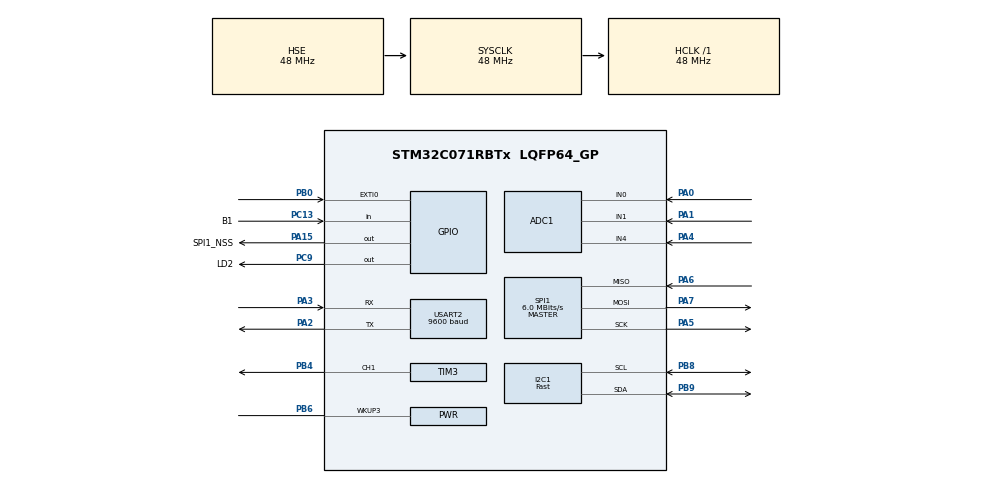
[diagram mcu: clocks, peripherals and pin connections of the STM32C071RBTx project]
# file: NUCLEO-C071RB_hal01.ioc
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ADC1.ClockPrescaler=ADC_CLOCK_ASYNC_DIV1
ADC1.ContinuousConvMode=ENABLE
ADC1.EOCSelection=ADC_EOC_SEQ_CONV
ADC1.NbrOfConversion=1
ADC1.NbrOfConversionFlag=0
ADC1.Overrun=ADC_OVR_DATA_OVERWRITTEN
ADC1.SelectedChannel=ADC_CHANNEL_0|ADC_CHANNEL_1|ADC_CHANNEL_4
ADC1.Sequencer=NOT_FULLY_CONFIGURABLE
ADC1.master=1
CORTEX_M0+.AccessPermission-Cortex_Memory_Protection_Unit_Region0_Settings=MPU_REGION_PRIV_RO
CORTEX_M0+.BaseAddress-Cortex_Memory_Protection_Unit_Region0_Settings=0x20005000
CORTEX_M0+.Enable-Cortex_Memory_Protection_Unit_Region0_Settings=MPU_REGION_ENABLE
CORTEX_M0+.MPU_Control=MPU_PRIVILEGED_DEFAULT
CORTEX_M0+.Size-Cortex_Memory_Protection_Unit_Region0_Settings=MPU_REGION_SIZE_1KB
CRC.InputDataFormat=CRC_INPUTDATA_FORMAT_WORDS
Dma.ADC1.0.Direction=DMA_PERIPH_TO_MEMORY
Dma.ADC1.0.EventEnable=DISABLE
Dma.ADC1.0.Instance=DMA1_Channel1
Dma.ADC1.0.MemDataAlignment=DMA_MDATAALIGN_HALFWORD
Dma.ADC1.0.MemInc=DMA_MINC_ENABLE
Dma.ADC1.0.Mode=DMA_NORMAL
Dma.ADC1.0.PeriphDataAlignment=DMA_PDATAALIGN_HALFWORD
Dma.ADC1.0.PeriphInc=DMA_PINC_DISABLE
Dma.ADC1.0.Polarity=HAL_DMAMUX_REQ_GEN_RISING
Dma.ADC1.0.Priority=DMA_PRIORITY_HIGH
Dma.ADC1.0.RequestNumber=1
Dma.ADC1.0.SignalID=NONE
Dma.ADC1.0.SyncEnable=DISABLE
Dma.ADC1.0.SyncPolarity=HAL_DMAMUX_SYNC_NO_EVENT
Dma.ADC1.0.SyncRequestNumber=1
Dma.ADC1.0.SyncSignalID=NONE
Dma.MEMTOMEM.1.Direction=DMA_MEMORY_TO_MEMORY
Dma.MEMTOMEM.1.EventEnable=DISABLE
Dma.MEMTOMEM.1.Instance=DMA1_Channel2
Dma.MEMTOMEM.1.MemDataAlignment=DMA_MDATAALIGN_WORD
Dma.MEMTOMEM.1.MemInc=DMA_MINC_ENABLE
Dma.MEMTOMEM.1.Mode=DMA_NORMAL
Dma.MEMTOMEM.1.PeriphDataAlignment=DMA_PDATAALIGN_WORD
Dma.MEMTOMEM.1.PeriphInc=DMA_PINC_ENABLE
Dma.MEMTOMEM.1.Polarity=HAL_DMAMUX_REQ_GEN_RISING
Dma.MEMTOMEM.1.Priority=DMA_PRIORITY_LOW
Dma.MEMTOMEM.1.RequestNumber=1
Dma.MEMTOMEM.1.SignalID=NONE
Dma.MEMTOMEM.1.SyncEnable=DISABLE
Dma.MEMTOMEM.1.SyncPolarity=HAL_DMAMUX_SYNC_NO_EVENT
Dma.MEMTOMEM.1.SyncRequestNumber=1
Dma.MEMTOMEM.1.SyncSignalID=NONE
Dma.MEMTOMEM.2.Direction=DMA_MEMORY_TO_MEMORY
Dma.MEMTOMEM.2.EventEnable=DISABLE
Dma.MEMTOMEM.2.Instance=DMA1_Channel3
Dma.MEMTOMEM.2.MemDataAlignment=DMA_MDATAALIGN_WORD
Dma.MEMTOMEM.2.MemInc=DMA_MINC_ENABLE
Dma.MEMTOMEM.2.Mode=DMA_NORMAL
Dma.MEMTOMEM.2.PeriphDataAlignment=DMA_PDATAALIGN_WORD
Dma.MEMTOMEM.2.PeriphInc=DMA_PINC_ENABLE
Dma.MEMTOMEM.2.Polarity=HAL_DMAMUX_REQ_GEN_RISING
Dma.MEMTOMEM.2.Priority=DMA_PRIORITY_VERY_HIGH
Dma.MEMTOMEM.2.RequestNumber=1
Dma.MEMTOMEM.2.SignalID=NONE
Dma.MEMTOMEM.2.SyncEnable=DISABLE
Dma.MEMTOMEM.2.SyncPolarity=HAL_DMAMUX_SYNC_NO_EVENT
Dma.MEMTOMEM.2.SyncRequestNumber=1
Dma.MEMTOMEM.2.SyncSignalID=NONE
Dma.Request0=ADC1
Dma.Request1=MEMTOMEM
Dma.Request2=MEMTOMEM
I2C1.I2C_Speed_Mode=I2C_Fast
I2C1.OwnAddress=0x10
I2C1.Timing=0x0090194B
IWDG.Prescaler=IWDG_PRESCALER_128
IWDG.Reload=2500-1
Mcu.Family=STM32C0
Mcu.Name=STM32C071RBTx
Mcu.Package=LQFP64_GP
Mcu.UserConstants=PWM_PERIOD,1000
NVIC.DMA1_Channel1_IRQn=true\:0\:0\:false\:false\:true\:false\:true\:true
NVIC.DMA1_Channel2_3_IRQn=true\:0\:0\:false\:false\:true\:true\:true\:true
NVIC.EXTI0_1_IRQn=true\:0\:0\:false\:false\:true\:true\:true\:true
NVIC.FLASH_IRQn=true\:0\:0\:false\:false\:true\:true\:true\:true
NVIC.I2C1_IRQn=true\:0\:0\:false\:false\:true\:true\:true\:true
NVIC.SPI1_IRQn=true\:0\:0\:false\:false\:true\:true\:true\:true
NVIC.TIM14_IRQn=true\:0\:0\:false\:false\:true\:true\:true\:true
NVIC.USART2_IRQn=true\:0\:0\:false\:false\:true\:true\:true\:true
PA0.Mode=IN0
PA0.Signal=ADC1_IN0
PA1.Mode=IN1
PA1.Signal=ADC1_IN1
PA15.GPIO_Label=SPI1_NSS
PA15.PinState=GPIO_PIN_SET
PA15.Signal=GPIO_Output
PA2.Mode=Asynchronous
PA2.Signal=USART2_TX
PA3.Mode=Asynchronous
PA3.Signal=USART2_RX
PA4.Mode=IN4
PA4.Signal=ADC1_IN4
PA5.Mode=Full_Duplex_Master
PA5.Signal=SPI1_SCK
PA6.Mode=Full_Duplex_Master
PA6.Signal=SPI1_MISO
PA7.Mode=Full_Duplex_Master
PA7.Signal=SPI1_MOSI
PB0.GPIO_ModeDefaultEXTI=GPIO_MODE_IT_FALLING
PB0.GPIO_PuPd=GPIO_PULLUP
PB0.Signal=GPXTI0
PB4.Signal=S_TIM3_CH1
PB6.Mode=WakeUp3
PB6.Signal=PWR_WKUP3
PB8.Mode=I2C
PB8.Signal=I2C1_SCL
PB9.Mode=I2C
PB9.Signal=I2C1_SDA
PC13.GPIO_Label=B1
PC13.GPIO_PuPd=GPIO_PULLUP
PC13.Signal=GPIO_Input
PC14-OSCX_IN(PC14).Mode=LSE-External-Oscillator
PC14-OSCX_IN(PC14).Signal=RCC_OSCX_IN
PC15-OSCX_OUT(PC15).Mode=LSE-External-Oscillator
PC15-OSCX_OUT(PC15).Signal=RCC_OSCX_OUT
PC9.GPIO_Label=LD2
PC9.Signal=GPIO_Output
PF0-OSC_IN(PF0).Mode=HSE-External-Oscillator
PF0-OSC_IN(PF0).Signal=RCC_OSC_IN
PF1-OSC_OUT(PF1).Mode=HSE-External-Oscillator
PF1-OSC_OUT(PF1).Signal=RCC_OSC_OUT
ProjectManager.HeapSize=0x200
ProjectManager.StackSize=0x400
ProjectManager.TargetToolchain=STM32CubeIDE
RCC.ADCCLockSelection=RCC_ADCCLKSOURCE_HSIKER
RCC.ADCFreq_Value=48000000
RCC.AHBFreq_Value=48000000
RCC.CortexFreq_Value=48000000
RCC.EXTERNAL_CLOCK_VALUE=12288000
RCC.HCLKFreq_Value=48000000
RCC.HSE_VALUE=48000000
RCC.HSI48_VALUE=48000000
RCC.HSIKERCLKDivider=RCC_HSIKER_DIV1
RCC.HSI_VALUE=48000000
RCC.RTCClockSelection=RCC_RTCCLKSOURCE_LSE
RCC.SYSCLKFreq_VALUE=48000000
RCC.SYSCLKSource=RCC_SYSCLKSOURCE_HSE
SH.S_TIM3_CH1.0=TIM3_CH1,PWM Generation1 CH1
SPI1.BaudRatePrescaler=SPI_BAUDRATEPRESCALER_8
SPI1.CLKPhase=SPI_PHASE_1EDGE
SPI1.CalculateBaudRate=6.0 MBits/s
SPI1.Direction=SPI_DIRECTION_2LINES
SPI1.Mode=SPI_MODE_MASTER
SPI1.NSSPMode=SPI_NSS_PULSE_ENABLE
SPI1.VirtualType=VM_MASTER
TIM14.AutoReloadPreload=TIM_AUTORELOAD_PRELOAD_DISABLE
TIM14.Period=8000-1
TIM14.Prescaler=6-1
TIM3.Channel-PWM\ Generation1\ CH1=TIM_CHANNEL_1
TIM3.Period=PWM_PERIOD-1
TIM3.Prescaler=48-1
USART2.BaudRate=9600
USART2.DMADisableonRxErrorParam=ADVFEATURE_DMA_DISABLEONRXERROR
USART2.FIFOMode=FIFOMODE_DISABLE
USART2.VirtualMode-Asynchronous=VM_ASYNC
VP_CRC_VS_CRC.Mode=CRC_Activate
VP_FLASH_SIG_Activate_FlashIP.Mode=Activate_FlashIP
VP_IWDG_VS_IWDG.Mode=IWDG_Activate
VP_RTC_VS_RTC_Activate.Mode=RTC_Enabled
VP_TIM14_VS_ClockSourceINT.Mode=Enable_Timer
board=NUCLEO-C071RB

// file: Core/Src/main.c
/* USER CODE BEGIN Header */
/**
  ******************************************************************************
  * @file           : main.c
  * @brief          : Main program body
  ******************************************************************************
  * @attention
  *
  * Copyright (c) 2024 STMicroelectronics.
  * All rights reserved.
  *
  * This software is licensed under terms that can be found in the LICENSE file
  * in the root directory of this software component.
  * If no LICENSE file comes with this software, it is provided AS-IS.
  *
  ******************************************************************************
  */
/* USER CODE END Header */
#include "main.h"

/* USER CODE BEGIN Includes */
#include "drv.h"
#include "lib.h"
/* USER CODE END Includes */

ADC_HandleTypeDef hadc1;
DMA_HandleTypeDef hdma_adc1;

CRC_HandleTypeDef hcrc;

I2C_HandleTypeDef hi2c1;

IWDG_HandleTypeDef hiwdg;

RTC_HandleTypeDef hrtc;

SPI_HandleTypeDef hspi1;

TIM_HandleTypeDef htim3;
TIM_HandleTypeDef htim14;

UART_HandleTypeDef huart2;

DMA_HandleTypeDef hdma_memtomem_dma1_channel2;
DMA_HandleTypeDef hdma_memtomem_dma1_channel3;
/* USER CODE BEGIN PV */
volatile static uint32_t u32s_CycleTimeCounter;		/* 周期時間カウンター			*/
/* USER CODE END PV */

void SystemClock_Config(void);
void PeriphCommonClock_Config(void);
static void MPU_Config(void);
static void MX_GPIO_Init(void);
static void MX_DMA_Init(void);
static void MX_USART2_UART_Init(void);
static void MX_TIM14_Init(void);
static void MX_ADC1_Init(void);
static void MX_TIM3_Init(void);
static void MX_FLASH_Init(void);
static void MX_I2C1_Init(void);
static void MX_SPI1_Init(void);
static void MX_IWDG_Init(void);
static void MX_RTC_Init(void);
static void MX_CRC_Init(void);

/* USER CODE BEGIN 0 */

/**
  * @brief Period elapsed callback in non-blocking mode
  * @param htim TIM handle
  * @retval None
  */
void HAL_TIM_PeriodElapsedCallback(TIM_HandleTypeDef *htim)
{
	if (htim == &htim14) {
		u32s_CycleTimeCounter++;
	}
}

/**
  * @brief スリープへ移行する
  * @param None
  * @retval None
  */
void sleep(void)
{
	/* TIM14のタイマー停止(1msタイマー割り込み用) */
	if (HAL_TIM_Base_Stop_IT(&htim14) != HAL_OK) {
		/* Stopping Error */
		Error_Handler();
	}

 	/* SysTickを一時中断 */
	HAL_SuspendTick();
	/* スリープモードへ移行 */
	HAL_PWR_EnterSLEEPMode(PWR_MAINREGULATOR_ON, PWR_SLEEPENTRY_WFI);
 	/* SysTickを再開 */
	HAL_ResumeTick();

	/* TIM14のタイマー開始(1msタイマー割り込み用) */
	if (HAL_TIM_Base_Start_IT(&htim14) != HAL_OK) {
		/* Starting Error */
		Error_Handler();
	}
}

/* USER CODE END 0 */

int main(void)
{

  /* MCU Configuration--------------------------------------------------------*/

  /* MPU Configuration--------------------------------------------------------*/
  MPU_Config();

  /* Reset of all peripherals, Initializes the Flash interface and the Systick. */
  HAL_Init();

  /* USER CODE BEGIN Init */
	u32s_CycleTimeCounter = 0;
  /* USER CODE END Init */

  /* Configure the system clock */
  SystemClock_Config();

  /* Configure the peripherals common clocks */
  PeriphCommonClock_Config();

  /* USER CODE BEGIN SysInit */
	/* タイマー初期化処理 */
	taskTimerInit();
  /* USER CODE END SysInit */

  /* Initialize all configured peripherals */
  MX_GPIO_Init();
  MX_DMA_Init();
  MX_USART2_UART_Init();
  MX_TIM14_Init();
  MX_ADC1_Init();
  MX_TIM3_Init();
  MX_FLASH_Init();
  MX_I2C1_Init();
  MX_SPI1_Init();
  MX_IWDG_Init();
  MX_RTC_Init();
  MX_CRC_Init();
  /* USER CODE BEGIN 2 */
	/* ADCドライバー初期化処理 */
	taskAdcDriverInit();
	/* UARTドライバー初期化処理 */
	taskUartDriverInit();
	/* PWMドライバー初期化処理 */
	taskPwmDriverInit();
	/* FLASHドライバー初期化処理 */
	taskFlashDriverInit();
	/* I2Cドライバー初期化処理 */
	taskI2cDriverInit();
	/* SPIドライバー初期化処理 */
	taskSpiDriverInit();
	/* 初期化関数 */
	setup();

	/* TIM14のタイマー開始(1msタイマー割り込み用) */
	if (HAL_TIM_Base_Start_IT(&htim14) != HAL_OK) {
		/* Starting Error */
		Error_Handler();
	}
  /* USER CODE END 2 */

  /* Infinite loop */
  /* USER CODE BEGIN WHILE */
	while (true) {
    /* USER CODE END WHILE */

    /* USER CODE BEGIN 3 */
		/* 周期時間カウンターがシステムの周期時間[ms]に達した場合 */
		if (u32s_CycleTimeCounter >= SYS_CYCLE_TIME) {
			/* Disable Interrupts */
			__disable_irq();
			u32s_CycleTimeCounter = 0;
			/* Enable Interrupts */
			__enable_irq();

			/* タイマー更新処理 */
			taskTimerUpdate();
			/* ADCドライバー入力処理 */
			taskAdcDriverInput();
			/* UARTドライバー入力処理 */
			taskUartDriverInput();
			/* PWMドライバー入力処理 */
			taskPwmDriverInput();
			/* FLASHドライバー入力処理 */
			taskFlashDriverInput();
			/* I2Cドライバー入力処理 */
			taskI2cDriverInput();
			/* SPIドライバー入力処理 */
			taskSpiDriverInput();
			/* 周期処理関数 */
			loop();
			/* ADCドライバー出力処理 */
			taskAdcDriverOutput();
			/* UARTドライバー出力処理 */
			taskUartDriverOutput();
			/* PWMドライバー出力処理 */
			taskPwmDriverOutput();
			/* FLASHドライバー出力処理 */
			taskFlashDriverOutput();
			/* I2Cドライバー出力処理 */
			taskI2cDriverOutput();
			/* SPIドライバー出力処理 */
			taskSpiDriverOutput();
			/* IWDGのリフレッシュ */
			if(HAL_IWDG_Refresh(&hiwdg) != HAL_OK) {
				/* Refresh Error */
				Error_Handler();
			}
		}
	}
  /* USER CODE END 3 */
}

void SystemClock_Config(void)
{
  RCC_OscInitTypeDef RCC_OscInitStruct = {0};
  RCC_ClkInitTypeDef RCC_ClkInitStruct = {0};

  /** Configure LSE Drive Capability
  */
  __HAL_RCC_LSEDRIVE_CONFIG(RCC_LSEDRIVE_LOW);

  /** Initializes the RCC Oscillators according to the specified parameters
  * in the RCC_OscInitTypeDef structure.
  */
  RCC_OscInitStruct.OscillatorType = RCC_OSCILLATORTYPE_HSI|RCC_OSCILLATORTYPE_LSI
                              |RCC_OSCILLATORTYPE_HSE|RCC_OSCILLATORTYPE_LSE;
  RCC_OscInitStruct.HSEState = RCC_HSE_ON;
  RCC_OscInitStruct.LSEState = RCC_LSE_ON;
  RCC_OscInitStruct.HSIState = RCC_HSI_ON;
  RCC_OscInitStruct.HSIDiv = RCC_HSI_DIV4;
  RCC_OscInitStruct.HSICalibrationValue = RCC_HSICALIBRATION_DEFAULT;
  RCC_OscInitStruct.LSIState = RCC_LSI_ON;
  if (HAL_RCC_OscConfig(&RCC_OscInitStruct) != HAL_OK)
  {
    Error_Handler();
  }

  /** Initializes the CPU, AHB and APB buses clocks
  */
  RCC_ClkInitStruct.ClockType = RCC_CLOCKTYPE_HCLK|RCC_CLOCKTYPE_SYSCLK
                              |RCC_CLOCKTYPE_PCLK1;
  RCC_ClkInitStruct.SYSCLKSource = RCC_SYSCLKSOURCE_HSE;
  RCC_ClkInitStruct.SYSCLKDivider = RCC_SYSCLK_DIV1;
  RCC_ClkInitStruct.AHBCLKDivider = RCC_HCLK_DIV1;
  RCC_ClkInitStruct.APB1CLKDivider = RCC_APB1_DIV1;

  if (HAL_RCC_ClockConfig(&RCC_ClkInitStruct, FLASH_LATENCY_1) != HAL_OK)
  {
    Error_Handler();
  }
}

void PeriphCommonClock_Config(void)
{
  RCC_PeriphCLKInitTypeDef PeriphClkInit = {0};

  /** Initializes the common peripherals clocks
  */
  PeriphClkInit.PeriphClockSelection = RCC_PERIPHCLK_HSIKER;
  PeriphClkInit.HSIKerClockDivider = RCC_HSIKER_DIV1;

  if (HAL_RCCEx_PeriphCLKConfig(&PeriphClkInit) != HAL_OK)
  {
    Error_Handler();
  }
}

static void MX_ADC1_Init(void)
{

  ADC_ChannelConfTypeDef sConfig = {0};

  /** Configure the global features of the ADC (Clock, Resolution, Data Alignment and number of conversion)
  */
  hadc1.Instance = ADC1;
  hadc1.Init.ClockPrescaler = ADC_CLOCK_ASYNC_DIV1;
  hadc1.Init.Resolution = ADC_RESOLUTION_12B;
  hadc1.Init.DataAlign = ADC_DATAALIGN_RIGHT;
  hadc1.Init.ScanConvMode = ADC_SCAN_SEQ_FIXED;
  hadc1.Init.EOCSelection = ADC_EOC_SEQ_CONV;
  hadc1.Init.LowPowerAutoWait = DISABLE;
  hadc1.Init.LowPowerAutoPowerOff = DISABLE;
  hadc1.Init.ContinuousConvMode = ENABLE;
  hadc1.Init.NbrOfConversion = 1;
  hadc1.Init.ExternalTrigConv = ADC_SOFTWARE_START;
  hadc1.Init.ExternalTrigConvEdge = ADC_EXTERNALTRIGCONVEDGE_NONE;
  hadc1.Init.DMAContinuousRequests = DISABLE;
  hadc1.Init.Overrun = ADC_OVR_DATA_OVERWRITTEN;
  hadc1.Init.SamplingTimeCommon1 = ADC_SAMPLETIME_1CYCLE_5;
  hadc1.Init.OversamplingMode = DISABLE;
  hadc1.Init.TriggerFrequencyMode = ADC_TRIGGER_FREQ_HIGH;
  if (HAL_ADC_Init(&hadc1) != HAL_OK)
  {
    Error_Handler();
  }

  /** Configure Regular Channel
  */
  sConfig.Channel = ADC_CHANNEL_0;
  sConfig.Rank = ADC_RANK_CHANNEL_NUMBER;
  if (HAL_ADC_ConfigChannel(&hadc1, &sConfig) != HAL_OK)
  {
    Error_Handler();
  }

  /** Configure Regular Channel
  */
  sConfig.Channel = ADC_CHANNEL_1;
  if (HAL_ADC_ConfigChannel(&hadc1, &sConfig) != HAL_OK)
  {
    Error_Handler();
  }

  /** Configure Regular Channel
  */
  sConfig.Channel = ADC_CHANNEL_4;
  if (HAL_ADC_ConfigChannel(&hadc1, &sConfig) != HAL_OK)
  {
    Error_Handler();
  }

}

static void MX_CRC_Init(void)
{

  hcrc.Instance = CRC;
  hcrc.Init.DefaultPolynomialUse = DEFAULT_POLYNOMIAL_ENABLE;
  hcrc.Init.DefaultInitValueUse = DEFAULT_INIT_VALUE_ENABLE;
  hcrc.Init.InputDataInversionMode = CRC_INPUTDATA_INVERSION_NONE;
  hcrc.Init.OutputDataInversionMode = CRC_OUTPUTDATA_INVERSION_DISABLE;
  hcrc.InputDataFormat = CRC_INPUTDATA_FORMAT_WORDS;
  if (HAL_CRC_Init(&hcrc) != HAL_OK)
  {
    Error_Handler();
  }

}

static void MX_FLASH_Init(void)
{

  if (HAL_FLASH_Unlock() != HAL_OK)
  {
    Error_Handler();
  }
  if (HAL_FLASH_Lock() != HAL_OK)
  {
    Error_Handler();
  }

}

static void MX_I2C1_Init(void)
{

  hi2c1.Instance = I2C1;
  hi2c1.Init.Timing = 0x0090194B;
  hi2c1.Init.OwnAddress1 = 32;
  hi2c1.Init.AddressingMode = I2C_ADDRESSINGMODE_7BIT;
  hi2c1.Init.DualAddressMode = I2C_DUALADDRESS_DISABLE;
  hi2c1.Init.OwnAddress2 = 0;
  hi2c1.Init.OwnAddress2Masks = I2C_OA2_NOMASK;
  hi2c1.Init.GeneralCallMode = I2C_GENERALCALL_DISABLE;
  hi2c1.Init.NoStretchMode = I2C_NOSTRETCH_DISABLE;
  if (HAL_I2C_Init(&hi2c1) != HAL_OK)
  {
    Error_Handler();
  }

  /** Configure Analogue filter
  */
  if (HAL_I2CEx_ConfigAnalogFilter(&hi2c1, I2C_ANALOGFILTER_ENABLE) != HAL_OK)
  {
    Error_Handler();
  }

  /** Configure Digital filter
  */
  if (HAL_I2CEx_ConfigDigitalFilter(&hi2c1, 0) != HAL_OK)
  {
    Error_Handler();
  }

}

static void MX_IWDG_Init(void)
{

  hiwdg.Instance = IWDG;
  hiwdg.Init.Prescaler = IWDG_PRESCALER_128;
  hiwdg.Init.Window = 4095;
  hiwdg.Init.Reload = 2500-1;
  if (HAL_IWDG_Init(&hiwdg) != HAL_OK)
  {
    Error_Handler();
  }

}

static void MX_RTC_Init(void)
{

  /** Initialize RTC Only
  */
  hrtc.Instance = RTC;
  hrtc.Init.HourFormat = RTC_HOURFORMAT_24;
  hrtc.Init.AsynchPrediv = 127;
  hrtc.Init.SynchPrediv = 255;
  hrtc.Init.OutPut = RTC_OUTPUT_DISABLE;
  hrtc.Init.OutPutRemap = RTC_OUTPUT_REMAP_NONE;
  hrtc.Init.OutPutPolarity = RTC_OUTPUT_POLARITY_HIGH;
  hrtc.Init.OutPutType = RTC_OUTPUT_TYPE_OPENDRAIN;
  hrtc.Init.OutPutPullUp = RTC_OUTPUT_PULLUP_NONE;
  if (HAL_RTC_Init(&hrtc) != HAL_OK)
  {
    Error_Handler();
  }

}

static void MX_SPI1_Init(void)
{

  /* SPI1 parameter configuration*/
  hspi1.Instance = SPI1;
  hspi1.Init.Mode = SPI_MODE_MASTER;
  hspi1.Init.Direction = SPI_DIRECTION_2LINES;
  hspi1.Init.DataSize = SPI_DATASIZE_8BIT;
  hspi1.Init.CLKPolarity = SPI_POLARITY_LOW;
  hspi1.Init.CLKPhase = SPI_PHASE_1EDGE;
  hspi1.Init.NSS = SPI_NSS_SOFT;
  hspi1.Init.BaudRatePrescaler = SPI_BAUDRATEPRESCALER_8;
  hspi1.Init.FirstBit = SPI_FIRSTBIT_MSB;
  hspi1.Init.TIMode = SPI_TIMODE_DISABLE;
  hspi1.Init.CRCCalculation = SPI_CRCCALCULATION_DISABLE;
  hspi1.Init.CRCPolynomial = 7;
  hspi1.Init.CRCLength = SPI_CRC_LENGTH_DATASIZE;
  hspi1.Init.NSSPMode = SPI_NSS_PULSE_ENABLE;
  if (HAL_SPI_Init(&hspi1) != HAL_OK)
  {
    Error_Handler();
  }

}

static void MX_TIM3_Init(void)
{

  TIM_MasterConfigTypeDef sMasterConfig = {0};
  TIM_OC_InitTypeDef sConfigOC = {0};

  htim3.Instance = TIM3;
  htim3.Init.Prescaler = 48-1;
  htim3.Init.CounterMode = TIM_COUNTERMODE_UP;
  htim3.Init.Period = PWM_PERIOD-1;
  htim3.Init.ClockDivision = TIM_CLOCKDIVISION_DIV1;
  htim3.Init.AutoReloadPreload = TIM_AUTORELOAD_PRELOAD_DISABLE;
  if (HAL_TIM_PWM_Init(&htim3) != HAL_OK)
  {
    Error_Handler();
  }
  sMasterConfig.MasterOutputTrigger = TIM_TRGO_RESET;
  sMasterConfig.MasterSlaveMode = TIM_MASTERSLAVEMODE_DISABLE;
  if (HAL_TIMEx_MasterConfigSynchronization(&htim3, &sMasterConfig) != HAL_OK)
  {
    Error_Handler();
  }
  sConfigOC.OCMode = TIM_OCMODE_PWM1;
  sConfigOC.Pulse = 0;
  sConfigOC.OCPolarity = TIM_OCPOLARITY_HIGH;
  sConfigOC.OCFastMode = TIM_OCFAST_DISABLE;
  if (HAL_TIM_PWM_ConfigChannel(&htim3, &sConfigOC, TIM_CHANNEL_1) != HAL_OK)
  {
    Error_Handler();
  }
  HAL_TIM_MspPostInit(&htim3);

}

static void MX_TIM14_Init(void)
{

  htim14.Instance = TIM14;
  htim14.Init.Prescaler = 6-1;
  htim14.Init.CounterMode = TIM_COUNTERMODE_UP;
  htim14.Init.Period = 8000-1;
  htim14.Init.ClockDivision = TIM_CLOCKDIVISION_DIV1;
  htim14.Init.AutoReloadPreload = TIM_AUTORELOAD_PRELOAD_DISABLE;
  if (HAL_TIM_Base_Init(&htim14) != HAL_OK)
  {
    Error_Handler();
  }

}

static void MX_USART2_UART_Init(void)
{

  huart2.Instance = USART2;
  huart2.Init.BaudRate = 9600;
  huart2.Init.WordLength = UART_WORDLENGTH_8B;
  huart2.Init.StopBits = UART_STOPBITS_1;
  huart2.Init.Parity = UART_PARITY_NONE;
  huart2.Init.Mode = UART_MODE_TX_RX;
  huart2.Init.HwFlowCtl = UART_HWCONTROL_NONE;
  huart2.Init.OverSampling = UART_OVERSAMPLING_16;
  huart2.Init.OneBitSampling = UART_ONE_BIT_SAMPLE_DISABLE;
  huart2.Init.ClockPrescaler = UART_PRESCALER_DIV1;
  huart2.AdvancedInit.AdvFeatureInit = UART_ADVFEATURE_DMADISABLEONERROR_INIT;
  huart2.AdvancedInit.DMADisableonRxError = UART_ADVFEATURE_DMA_DISABLEONRXERROR;
  if (HAL_UART_Init(&huart2) != HAL_OK)
  {
    Error_Handler();
  }
  if (HAL_UARTEx_SetTxFifoThreshold(&huart2, UART_TXFIFO_THRESHOLD_1_8) != HAL_OK)
  {
    Error_Handler();
  }
  if (HAL_UARTEx_SetRxFifoThreshold(&huart2, UART_RXFIFO_THRESHOLD_1_8) != HAL_OK)
  {
    Error_Handler();
  }
  if (HAL_UARTEx_DisableFifoMode(&huart2) != HAL_OK)
  {
    Error_Handler();
  }

}

static void MX_DMA_Init(void)
{

  /* DMA controller clock enable */
  __HAL_RCC_DMA1_CLK_ENABLE();

  /* Configure DMA request hdma_memtomem_dma1_channel2 on DMA1_Channel2 */
  hdma_memtomem_dma1_channel2.Instance = DMA1_Channel2;
  hdma_memtomem_dma1_channel2.Init.Request = DMA_REQUEST_MEM2MEM;
  hdma_memtomem_dma1_channel2.Init.Direction = DMA_MEMORY_TO_MEMORY;
  hdma_memtomem_dma1_channel2.Init.PeriphInc = DMA_PINC_ENABLE;
  hdma_memtomem_dma1_channel2.Init.MemInc = DMA_MINC_ENABLE;
  hdma_memtomem_dma1_channel2.Init.PeriphDataAlignment = DMA_PDATAALIGN_WORD;
  hdma_memtomem_dma1_channel2.Init.MemDataAlignment = DMA_MDATAALIGN_WORD;
  hdma_memtomem_dma1_channel2.Init.Mode = DMA_NORMAL;
  hdma_memtomem_dma1_channel2.Init.Priority = DMA_PRIORITY_LOW;
  if (HAL_DMA_Init(&hdma_memtomem_dma1_channel2) != HAL_OK)
  {
    Error_Handler( );
  }

  /* Configure DMA request hdma_memtomem_dma1_channel3 on DMA1_Channel3 */
  hdma_memtomem_dma1_channel3.Instance = DMA1_Channel3;
  hdma_memtomem_dma1_channel3.Init.Request = DMA_REQUEST_MEM2MEM;
  hdma_memtomem_dma1_channel3.Init.Direction = DMA_MEMORY_TO_MEMORY;
  hdma_memtomem_dma1_channel3.Init.PeriphInc = DMA_PINC_ENABLE;
  hdma_memtomem_dma1_channel3.Init.MemInc = DMA_MINC_ENABLE;
  hdma_memtomem_dma1_channel3.Init.PeriphDataAlignment = DMA_PDATAALIGN_WORD;
  hdma_memtomem_dma1_channel3.Init.MemDataAlignment = DMA_MDATAALIGN_WORD;
  hdma_memtomem_dma1_channel3.Init.Mode = DMA_NORMAL;
  hdma_memtomem_dma1_channel3.Init.Priority = DMA_PRIORITY_VERY_HIGH;
  if (HAL_DMA_Init(&hdma_memtomem_dma1_channel3) != HAL_OK)
  {
    Error_Handler( );
  }

  /* DMA interrupt init */
  /* DMA1_Channel1_IRQn interrupt configuration */
  HAL_NVIC_SetPriority(DMA1_Channel1_IRQn, 0, 0);
  HAL_NVIC_EnableIRQ(DMA1_Channel1_IRQn);
  /* DMA1_Channel2_3_IRQn interrupt configuration */
  HAL_NVIC_SetPriority(DMA1_Channel2_3_IRQn, 0, 0);
  HAL_NVIC_EnableIRQ(DMA1_Channel2_3_IRQn);

}

static void MX_GPIO_Init(void)
{
  GPIO_InitTypeDef GPIO_InitStruct = {0};

  /* GPIO Ports Clock Enable */
  __HAL_RCC_GPIOC_CLK_ENABLE();
  __HAL_RCC_GPIOF_CLK_ENABLE();
  __HAL_RCC_GPIOA_CLK_ENABLE();
  __HAL_RCC_GPIOB_CLK_ENABLE();

  /*Configure GPIO pin Output Level */
  HAL_GPIO_WritePin(SPI1_NSS_GPIO_Port, SPI1_NSS_Pin, GPIO_PIN_SET);

  /*Configure GPIO pin Output Level */
  HAL_GPIO_WritePin(LD2_GPIO_Port, LD2_Pin, GPIO_PIN_RESET);

  /*Configure GPIO pin : B1_Pin */
  GPIO_InitStruct.Pin = B1_Pin;
  GPIO_InitStruct.Mode = GPIO_MODE_INPUT;
  GPIO_InitStruct.Pull = GPIO_PULLUP;
  HAL_GPIO_Init(B1_GPIO_Port, &GPIO_InitStruct);

  /*Configure GPIO pin : PB0 */
  GPIO_InitStruct.Pin = GPIO_PIN_0;
  GPIO_InitStruct.Mode = GPIO_MODE_IT_FALLING;
  GPIO_InitStruct.Pull = GPIO_PULLUP;
  HAL_GPIO_Init(GPIOB, &GPIO_InitStruct);

  /*Configure GPIO pin : SPI1_NSS_Pin */
  GPIO_InitStruct.Pin = SPI1_NSS_Pin;
  GPIO_InitStruct.Mode = GPIO_MODE_OUTPUT_PP;
  GPIO_InitStruct.Pull = GPIO_NOPULL;
  GPIO_InitStruct.Speed = GPIO_SPEED_FREQ_LOW;
  HAL_GPIO_Init(SPI1_NSS_GPIO_Port, &GPIO_InitStruct);

  /*Configure GPIO pin : LD2_Pin */
  GPIO_InitStruct.Pin = LD2_Pin;
  GPIO_InitStruct.Mode = GPIO_MODE_OUTPUT_PP;
  GPIO_InitStruct.Pull = GPIO_NOPULL;
  GPIO_InitStruct.Speed = GPIO_SPEED_FREQ_LOW;
  HAL_GPIO_Init(LD2_GPIO_Port, &GPIO_InitStruct);

  /* EXTI interrupt init*/
  HAL_NVIC_SetPriority(EXTI0_1_IRQn, 0, 0);
  HAL_NVIC_EnableIRQ(EXTI0_1_IRQn);

}

 /* MPU Configuration */

void MPU_Config(void)
{
  MPU_Region_InitTypeDef MPU_InitStruct = {0};

  /* Disables the MPU */
  HAL_MPU_Disable();

  /** Initializes and configures the Region and the memory to be protected
  */
  MPU_InitStruct.Enable = MPU_REGION_ENABLE;
  MPU_InitStruct.Number = MPU_REGION_NUMBER0;
  MPU_InitStruct.BaseAddress = 0x20005000;
  MPU_InitStruct.Size = MPU_REGION_SIZE_1KB;
  MPU_InitStruct.SubRegionDisable = 0x0;
  MPU_InitStruct.TypeExtField = MPU_TEX_LEVEL0;
  MPU_InitStruct.AccessPermission = MPU_REGION_PRIV_RO;
  MPU_InitStruct.DisableExec = MPU_INSTRUCTION_ACCESS_ENABLE;
  MPU_InitStruct.IsShareable = MPU_ACCESS_NOT_SHAREABLE;
  MPU_InitStruct.IsCacheable = MPU_ACCESS_NOT_CACHEABLE;
  MPU_InitStruct.IsBufferable = MPU_ACCESS_NOT_BUFFERABLE;

  HAL_MPU_ConfigRegion(&MPU_InitStruct);
  /* Enables the MPU */
  HAL_MPU_Enable(MPU_PRIVILEGED_DEFAULT);

}

void Error_Handler(void)
{
	__disable_irq();
	while (1) {
	}
}
